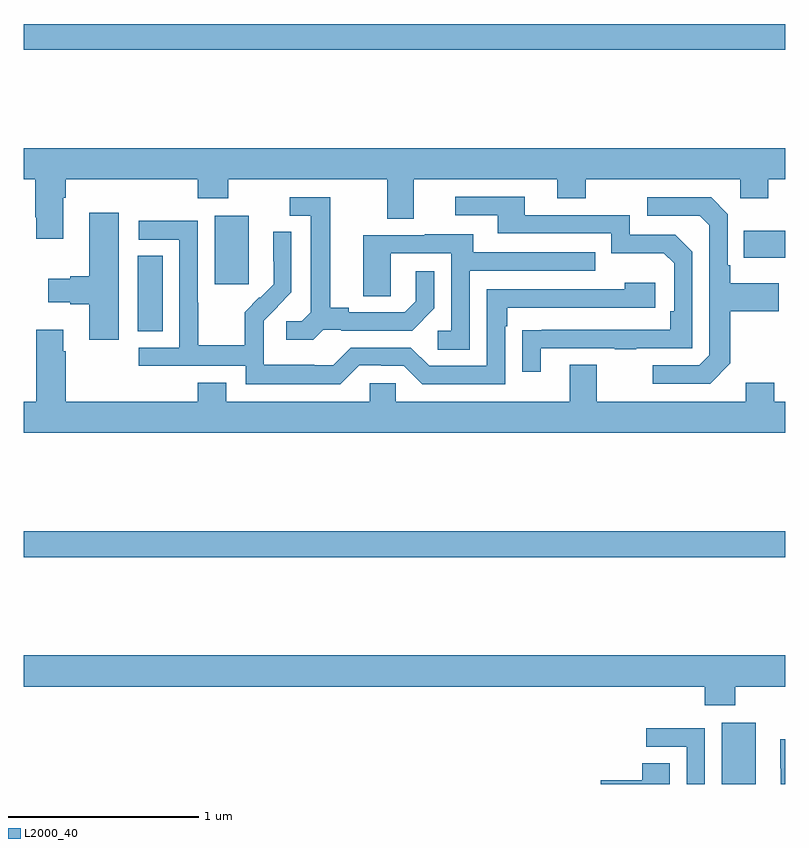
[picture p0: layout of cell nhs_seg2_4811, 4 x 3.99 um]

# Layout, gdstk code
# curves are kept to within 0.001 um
import gdstk
lib = gdstk.Library(unit=1e-6, precision=1e-09)
def R(c, l, rs):  # rectangles x0, y0, x1, y1
    for r in rs: c.add(gdstk.rectangle(r[:2], r[2:], *l))
def P(c, l, *ps):  # polygons
    for p in ps: c.add(gdstk.Polygon(p, *l))
L2000_40 = (2000, 40)

nhs_seg2_4811 = lib.new_cell('nhs_seg2_4811')
R(nhs_seg2_4811, L2000_40, [(376.667,637.8,376.846,638.122), (373,638.992,377,639.128), (373.598,640.177,373.729,640.574), (374.003,640.425,374.182,640.786), (376.783,640.565,377,640.705), (373,641.656,377,641.792)])
P(nhs_seg2_4811, L2000_40, [(373.207,640.88),(373.22,640.88),(373.22,640.976),(373.913,640.976),(373.913,640.877),(374.073,640.877),(374.073,640.976),(374.909,640.976),(374.909,640.768),(375.049,640.768),(375.049,640.976),(375.803,640.976),(375.803,640.877),(375.951,640.877),(375.951,640.976),(376.764,640.976),(376.764,640.877),(376.911,640.877),(376.911,640.976),(377,640.976),(377,641.14),(373,641.14),(373,640.976),(373.06,640.976),(373.06,640.777),(373.067,640.777),(373.067,640.665),(373.207,640.665)],
  [(375.715,640.089),(376.105,640.089),(376.105,640.084),(376.217,640.084),(376.217,640.089),(376.512,640.089),(376.512,640.596),(376.422,640.686),(376.182,640.686),(376.182,640.788),(375.631,640.788),(375.631,640.884),(375.267,640.884),(375.267,640.788),(375.491,640.788),(375.491,640.692),(376.086,640.692),(376.086,640.589),(376.363,640.589),(376.416,640.536),(376.416,640.282),(376.396,640.282),(376.396,640.185),(375.619,640.184),(375.619,639.966),(375.715,639.966)],
  [(374.574,640.185),(374.668,640.185),(374.668,640.182),(375.04,640.182),(375.156,640.298),(375.156,640.492),(375.059,640.492),(375.059,640.335),(375.002,640.278),(374.707,640.278),(374.707,640.301),(374.611,640.301),(374.611,640.881),(374.397,640.881),(374.397,640.785),(374.507,640.785),(374.507,640.277),(374.46,640.23),(374.379,640.23),(374.379,640.133),(374.522,640.133)],
  [(376.711,640.009),(376.711,640.282),(376.967,640.282),(376.967,640.429),(376.711,640.429),(376.711,640.525),(376.698,640.525),(376.698,640.794),(376.611,640.881),(376.275,640.881),(376.275,640.785),(376.551,640.785),(376.602,640.734),(376.602,640.053),(376.548,639.999),(376.305,639.999),(376.305,639.903),(376.605,639.903)],
  [(373.498,640.801),(373.343,640.801),(373.343,640.466),(373.244,640.466),(373.244,640.453),(373.128,640.453),(373.128,640.331),(373.244,640.331),(373.244,640.319),(373.343,640.319),(373.343,640.134),(373.498,640.134)],
  [(374.763,639.999),(374.879,639.999),(374.879,639.996),(374.997,639.996),(375.093,639.9),(375.528,639.9),(375.528,640.205),(375.541,640.205),(375.541,640.302),(376.318,640.302),(376.318,640.432),(376.157,640.432),(376.157,640.398),(375.432,640.398),(375.432,639.996),(375.129,639.996),(375.033,640.092),(374.718,640.092),(374.625,639.999),(374.525,639.999),(374.525,640.003),(374.262,640.003),(374.262,640.137),(374.26,640.137),(374.26,640.234),(374.406,640.382),(374.406,640.7),(374.31,640.7),(374.31,640.546),(374.312,640.546),(374.312,640.424),(374.241,640.353),(374.238,640.356),(374.161,640.279),(374.161,640.105),(373.917,640.105),(373.917,640.328),(373.914,640.328),(373.914,640.758),(373.605,640.758),(373.605,640.659),(373.818,640.659),(373.818,640.092),(373.605,640.092),(373.605,639.996),(374.166,639.996),(374.166,639.899),(374.663,639.899)],
  [(375.342,640.497),(376.001,640.497),(376.001,640.593),(375.361,640.593),(375.361,640.687),(375.107,640.687),(375.107,640.683),(374.783,640.683),(374.783,640.363),(374.928,640.363),(374.928,640.587),(375.246,640.587),(375.246,640.182),(375.174,640.182),(375.174,640.081),(375.342,640.081)],
  [(377,639.808),(376.941,639.808),(376.941,639.907),(376.793,639.907),(376.793,639.808),(376.009,639.808),(376.009,640.003),(375.869,640.003),(375.869,639.808),(374.955,639.808),(374.955,639.906),(374.817,639.906),(374.817,639.808),(374.065,639.808),(374.065,639.907),(373.913,639.907),(373.913,639.808),(373.22,639.808),(373.22,640.073),(373.207,640.073),(373.207,640.186),(373.067,640.186),(373.067,639.808),(373,639.808),(373,639.644),(377,639.644)],
  [(376.737,638.312),(377,638.312),(377,638.476),(373,638.476),(373,638.312),(376.577,638.312),(376.577,638.213),(376.737,638.213)],
  [(376.578,638.094),(376.269,638.094),(376.269,637.995),(376.482,637.995),(376.482,637.8),(376.578,637.8)],
  [(377,638.036),(376.974,638.036),(376.974,637.882),(376.976,637.882),(376.976,637.8),(377,637.8)],
  [(376.393,637.91),(376.25,637.91),(376.25,637.82),(376.032,637.82),(376.032,637.8),(376.393,637.8)])

lib.write_gds('nhs_seg2_4811.gds')
